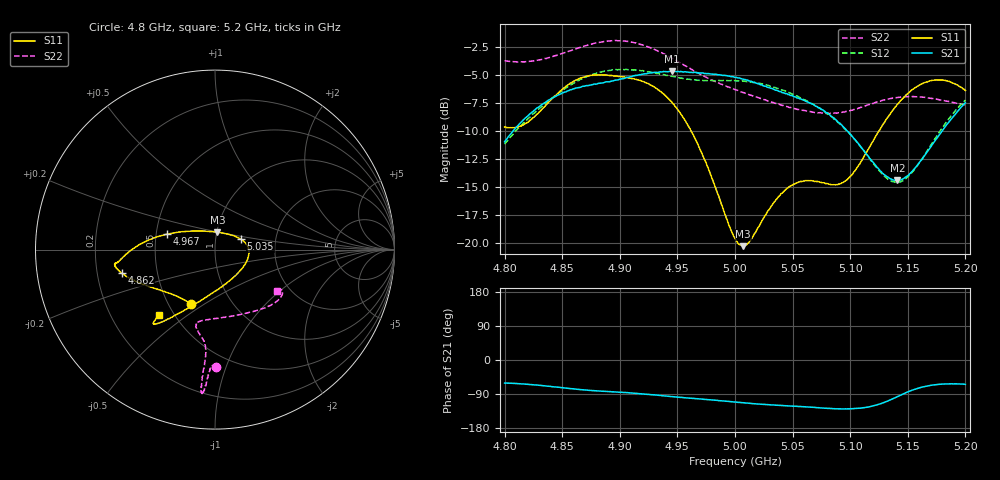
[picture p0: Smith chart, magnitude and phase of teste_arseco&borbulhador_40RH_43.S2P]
! Network Analyzer HP8722D
! Hewlett-Packard
! Data name: Linha & Wilkinson
! Saver's name: Rodrigo Anjos
! Comments: Teste da utilização de aquisição
! continua pelo VNA HP8722D
! Time and date: 15/4/2025 16:42
!  Frequency  S11  S21  S12  S22
# HZ  S  MA R 50
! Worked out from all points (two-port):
!   401 points, 4.8 GHz to 5.2 GHz, reference 50 ohm
!   highest |S21| = -4.63 dB at 4.945 GHz (marker M1); lowest = -14.4 dB at 5.141 GHz (marker M2)
!   |S21| within 3 dB of the highest: 4.832 GHz to 5.069 GHz (236.7 MHz wide, 4.78 % of centre); 5.198262 GHz to end of sweep
!   lowest |S11| = -20.2 dB at 5.007 GHz (marker M3), VSWR 1.22, Z = 50.4 + j9.8 ohm
!   |S11| at or under -10 dB: 4.962 GHz to 5.125 GHz (162.6 MHz wide, 3.22 % of centre)
!   |S22| runs from -8.4 to -1.9 dB; largest |S21 - S12| = 0.88
!   S11 on the Smith chart (normalised r, x): 4.8 GHz: 0.65, -0.44; 4.862 GHz: 0.31, -0.11; 4.967 GHz: 0.57, +0.11; 5.035 GHz: 1.32, +0.16; 5.2 GHz: 0.41, -0.39
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4.8e9  0.331 -114.0  0.2841 -60.9  0.2771 -175.2  0.6545 -89.6
4.819e9  0.3456 -133.8  0.3669 -63.9  0.3544 -173.5  0.6489 -91.2
4.862e9  0.5364 -165.9  0.4944 -77.0  0.5275 -176.7  0.7397 -93.6
4.867e9  0.5492 -167.9  0.5009 -78.4  0.5419 -177.4  0.7553 -93.8
4.899e9  0.5562 -172.4  0.5388 -85.0  0.5974 175.6  0.8029 -95.2
4.934e9  0.4828 -178.2  0.5812 -93.5  0.5731 171.8  0.718 -95.7
4.945e9  0.4287 176.8  0.5869 -96.6  0.5573 172.0  0.672 -95.5
4.967e9  0.2821 162.4  0.5784 -102.3  0.5349 173.7  0.5791 -95.1
5e9  0.1057 106.2  0.5512 -110.9  0.5345 176.4  0.4861 -99.4
5.007e9  0.09726 82.4  0.5408 -112.6  0.5298 176.3  0.4715 -101.1
5.013e9  0.1026 63.0  0.5305 -114.4  0.5255 176.2  0.4595 -102.3
5.035e9  0.1551 22.1  0.4837 -119.1  0.4962 174.9  0.4221 -103.9
5.05e9  0.1825 6.3  0.4558 -121.9  0.4638 174.3  0.402 -100.4
5.067e9  0.1905 -12.0  0.4192 -124.7  0.4207 173.8  0.3855 -91.7
5.087e9  0.1826 -44.5  0.3577 -128.8  0.3567 173.7  0.3821 -76.8
5.097e9  0.1917 -65.6  0.3191 -129.1  0.3183 174.5  0.3885 -68.4
5.134e9  0.3743 -116.4  0.1952 -106.3  0.1919 -159.1  0.4423 -43.4
5.141e9  0.4175 -120.3  0.1914 -96.6  0.1875 -148.2  0.4483 -40.3
5.153e9  0.4824 -125.2  0.208 -80.8  0.2057 -129.7  0.4523 -35.9
5.17e9  0.5327 -128.8  0.2699 -66.8  0.2745 -112.9  0.4448 -32.1
5.184e9  0.5315 -130.1  0.3403 -63.1  0.3511 -107.2  0.4317 -31.2
5.2e9  0.4817 -130.5  0.4246 -64.3  0.4364 -106.2  0.4159 -33.5
